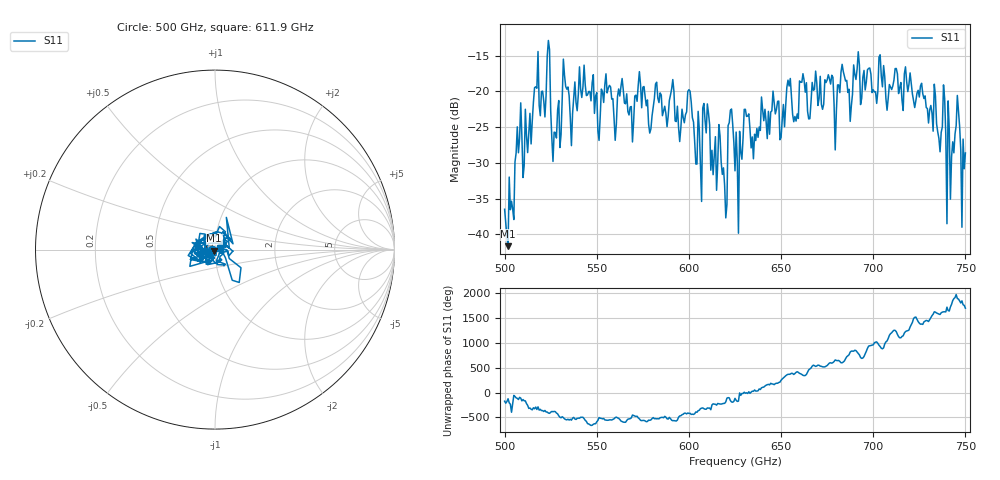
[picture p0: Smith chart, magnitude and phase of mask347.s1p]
!Created with skrf (http://scikit-rf.org).
# GHz S MA R 50.0
!freq magS11 angS11
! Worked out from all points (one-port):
!   401 points, 500 GHz to 750 GHz, reference 50 ohm
!   lowest |S11| = -41.6 dB at 501.9 GHz (marker M1), VSWR 1.02, Z = 49.5 - j0.661 ohm
!   |S11| at or under -10 dB: start of sweep to end of sweep
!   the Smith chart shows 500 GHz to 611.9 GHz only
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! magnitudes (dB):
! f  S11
! 500 GHz  -36.5
! 501.9 GHz  -41.6
! 507.5 GHz  -28.6
! 511.2 GHz  -22.5
! 516.9 GHz  -19.3
! 523.8 GHz  -12.9
! 526.9 GHz  -25.7
! 531.2 GHz  -21.0
! 562.5 GHz  -20.6
! 579.4 GHz  -25.2
! 590.6 GHz  -19.7
! 593.8 GHz  -22.1
! 600.6 GHz  -20.0
! 605.6 GHz  -25.3
! 609.4 GHz  -25.8
! 619.4 GHz  -33.1
! 622.5 GHz  -22.6
! 625 GHz  -31.1
! 656.2 GHz  -23.2
! 680 GHz  -22.8
! 683.8 GHz  -17.2
! 687.5 GHz  -24.2
! 690.6 GHz  -18.3
! 718.8 GHz  -20.0
! 738.1 GHz  -19.1
! 741.2 GHz  -25.3
! 745.6 GHz  -20.6
! 750 GHz  -28.6
